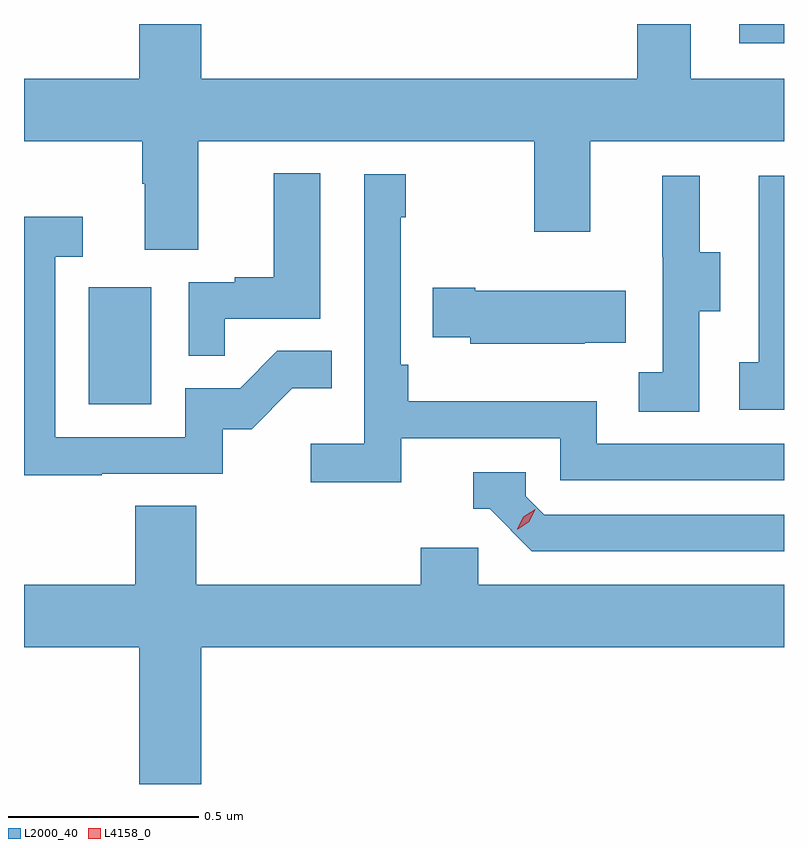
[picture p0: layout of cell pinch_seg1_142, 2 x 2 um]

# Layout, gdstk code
import gdstk
lib = gdstk.Library(unit=1e-6, precision=1e-09)
def R(c, l, rs):  # rectangles x0, y0, x1, y1
    for r in rs: c.add(gdstk.rectangle(r[:2], r[2:], *l))
def P(c, l, *ps):  # polygons
    for p in ps: c.add(gdstk.Polygon(p, *l))
L2000_40 = (2000, 40)
L4158_0 = (4158, 0)

pinch_seg1_142 = lib.new_cell('pinch_seg1_142')
R(pinch_seg1_142, L2000_40, [(1016.024,555.036,1016.188,555.343), (1017.735,555.986,1017.853,556.036)])
P(pinch_seg1_142, L2000_40, [(1017.467,556.036),(1017.467,555.892),(1016.32,555.892),(1016.32,556.036),(1016.156,556.036),(1016.156,555.892),(1015.853,555.892),(1015.853,555.728),(1016.164,555.728),(1016.164,555.616),(1016.171,555.616),(1016.171,555.442),(1016.311,555.442),(1016.311,555.728),(1017.196,555.728),(1017.196,555.489),(1017.343,555.489),(1017.343,555.728),(1017.853,555.728),(1017.853,555.892),(1017.607,555.892),(1017.607,556.036)],
  [(1016.381,555.261),(1016.632,555.261),(1016.632,555.643),(1016.51,555.643),(1016.51,555.37),(1016.407,555.37),(1016.407,555.357),(1016.286,555.357),(1016.286,555.163),(1016.381,555.163)],
  [(1016.846,554.946),(1017.264,554.946),(1017.264,554.835),(1017.853,554.835),(1017.853,554.931),(1017.36,554.931),(1017.36,555.043),(1016.864,555.043),(1016.864,555.139),(1016.844,555.139),(1016.844,555.527),(1016.857,555.527),(1016.857,555.64),(1016.748,555.64),(1016.748,554.932),(1016.607,554.932),(1016.607,554.83),(1016.846,554.83)],
  [(1017.853,555.637),(1017.786,555.637),(1017.786,555.146),(1017.735,555.146),(1017.735,555.021),(1017.853,555.021)],
  [(1017.63,555.28),(1017.685,555.28),(1017.685,555.435),(1017.631,555.435),(1017.631,555.637),(1017.533,555.637),(1017.533,555.423),(1017.534,555.423),(1017.534,555.119),(1017.471,555.119),(1017.471,555.016),(1017.63,555.016)],
  [(1016.057,554.853),(1016.376,554.853),(1016.376,554.97),(1016.452,554.97),(1016.559,555.077),(1016.663,555.077),(1016.663,555.176),(1016.52,555.176),(1016.422,555.078),(1016.277,555.078),(1016.277,554.949),(1015.935,554.949),(1015.935,555.423),(1016.008,555.423),(1016.008,555.529),(1015.853,555.529),(1015.853,554.848),(1016.057,554.848)],
  [(1017.329,555.197),(1017.437,555.197),(1017.437,555.334),(1017.04,555.334),(1017.04,555.342),(1016.929,555.342),(1016.929,555.212),(1017.027,555.212),(1017.027,555.194),(1017.329,555.194)],
  [(1017.853,554.745),(1017.222,554.745),(1017.174,554.793),(1017.174,554.856),(1017.035,554.856),(1017.035,554.76),(1017.078,554.76),(1017.189,554.649),(1017.853,554.649)],
  [(1016.32,554.396),(1017.853,554.396),(1017.853,554.56),(1017.048,554.56),(1017.048,554.658),(1016.897,554.658),(1016.897,554.56),(1016.306,554.56),(1016.306,554.768),(1016.146,554.768),(1016.146,554.56),(1015.853,554.56),(1015.853,554.396),(1016.156,554.396),(1016.156,554.036),(1016.32,554.036)])
P(pinch_seg1_142, L4158_0, [(1017.151,554.706),(1017.151,554.707),(1017.167,554.739),(1017.198,554.759),(1017.198,554.759),(1017.198,554.758),(1017.182,554.726),(1017.152,554.706)])

lib.write_gds('pinch_seg1_142.gds')
